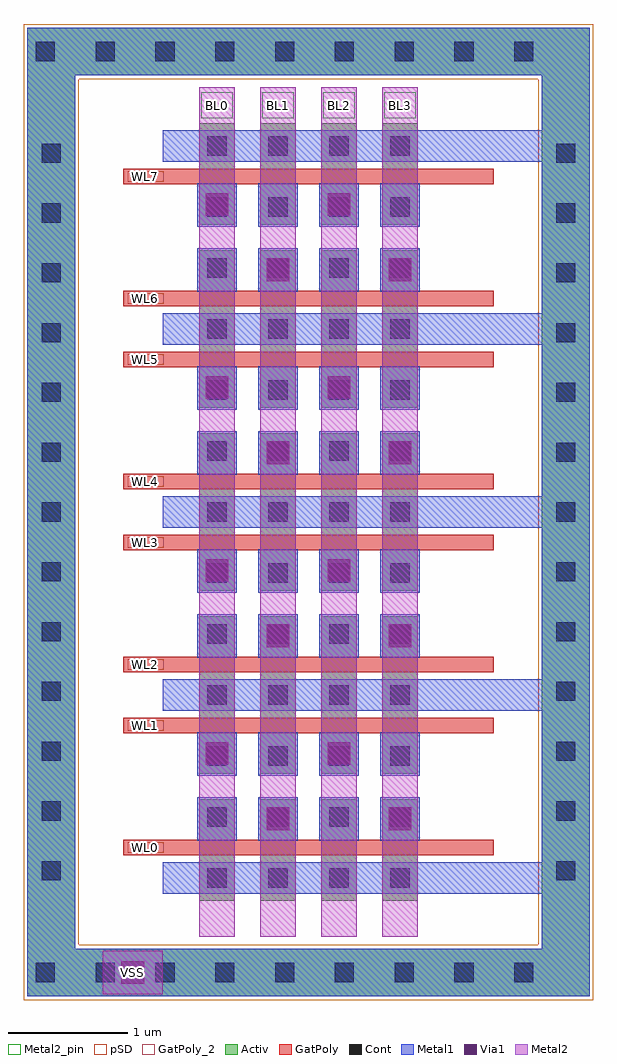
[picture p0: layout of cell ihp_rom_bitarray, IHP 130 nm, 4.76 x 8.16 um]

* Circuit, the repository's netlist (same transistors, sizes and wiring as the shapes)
* NGSPICE file created from ihp_rom_bitarray.ext - technology: ihp-sg13g2

.subckt ihp_rom_bitarray VSS WL0 WL1 WL2 WL3 WL4 WL5 WL6 WL7 BL0 BL1 BL2 BL3
X0 VSS WL5 BL2 VSS sg13_lv_nmos ad=57f pd=0.68u as=0.102p ps=1.28u w=0.3u l=0.13u
X1 a_225_64# WL0 VSS VSS sg13_lv_nmos ad=0.102p pd=1.28u as=0.114p ps=1.36u w=0.3u l=0.13u
X2 VSS WL7 BL2 VSS sg13_lv_nmos ad=0.114p pd=1.36u as=0.102p ps=1.28u w=0.3u l=0.13u
X3 VSS WL5 a_327_786# VSS sg13_lv_nmos ad=57f pd=0.68u as=0.102p ps=1.28u w=0.3u l=0.13u
X4 a_21_370# WL2 VSS VSS sg13_lv_nmos ad=0.102p pd=1.28u as=57f ps=0.68u w=0.3u l=0.13u
X5 BL1 WL4 VSS VSS sg13_lv_nmos ad=0.102p pd=1.28u as=57f ps=0.68u w=0.3u l=0.13u
X6 VSS WL7 BL0 VSS sg13_lv_nmos ad=0.114p pd=1.36u as=0.102p ps=1.28u w=0.3u l=0.13u
X7 VSS WL5 BL0 VSS sg13_lv_nmos ad=57f pd=0.68u as=0.102p ps=1.28u w=0.3u l=0.13u
X8 a_225_676# WL4 VSS VSS sg13_lv_nmos ad=0.102p pd=1.28u as=57f ps=0.68u w=0.3u l=0.13u
X9 VSS WL7 a_327_1092# VSS sg13_lv_nmos ad=0.114p pd=1.36u as=0.102p ps=1.28u w=0.3u l=0.13u
X10 BL1 WL6 VSS VSS sg13_lv_nmos ad=0.102p pd=1.28u as=57f ps=0.68u w=0.3u l=0.13u
X11 BL3 WL4 VSS VSS sg13_lv_nmos ad=0.102p pd=1.28u as=57f ps=0.68u w=0.3u l=0.13u
X12 a_225_982# WL6 VSS VSS sg13_lv_nmos ad=0.102p pd=1.28u as=57f ps=0.68u w=0.3u l=0.13u
X13 BL1 WL0 VSS VSS sg13_lv_nmos ad=0.102p pd=1.28u as=0.114p ps=1.36u w=0.3u l=0.13u
X14 VSS WL1 a_123_174# VSS sg13_lv_nmos ad=57f pd=0.68u as=0.102p ps=1.28u w=0.3u l=0.13u
X15 BL3 WL6 VSS VSS sg13_lv_nmos ad=0.102p pd=1.28u as=57f ps=0.68u w=0.3u l=0.13u
X16 VSS WL1 BL2 VSS sg13_lv_nmos ad=57f pd=0.68u as=0.102p ps=1.28u w=0.3u l=0.13u
X17 a_21_676# WL4 VSS VSS sg13_lv_nmos ad=0.102p pd=1.28u as=57f ps=0.68u w=0.3u l=0.13u
X18 VSS WL3 a_123_480# VSS sg13_lv_nmos ad=57f pd=0.68u as=0.102p ps=1.28u w=0.3u l=0.13u
X19 VSS WL1 a_327_174# VSS sg13_lv_nmos ad=57f pd=0.68u as=0.102p ps=1.28u w=0.3u l=0.13u
X20 VSS WL3 BL2 VSS sg13_lv_nmos ad=57f pd=0.68u as=0.102p ps=1.28u w=0.3u l=0.13u
X21 a_21_982# WL6 VSS VSS sg13_lv_nmos ad=0.102p pd=1.28u as=57f ps=0.68u w=0.3u l=0.13u
X22 VSS WL3 a_327_480# VSS sg13_lv_nmos ad=57f pd=0.68u as=0.102p ps=1.28u w=0.3u l=0.13u
X23 VSS WL1 BL0 VSS sg13_lv_nmos ad=57f pd=0.68u as=0.102p ps=1.28u w=0.3u l=0.13u
X24 BL3 WL0 VSS VSS sg13_lv_nmos ad=0.102p pd=1.28u as=0.114p ps=1.36u w=0.3u l=0.13u
X25 BL1 WL2 VSS VSS sg13_lv_nmos ad=0.102p pd=1.28u as=57f ps=0.68u w=0.3u l=0.13u
X26 VSS WL7 a_123_1092# VSS sg13_lv_nmos ad=0.114p pd=1.36u as=0.102p ps=1.28u w=0.3u l=0.13u
X27 VSS WL3 BL0 VSS sg13_lv_nmos ad=57f pd=0.68u as=0.102p ps=1.28u w=0.3u l=0.13u
X28 a_225_370# WL2 VSS VSS sg13_lv_nmos ad=0.102p pd=1.28u as=57f ps=0.68u w=0.3u l=0.13u
X29 BL3 WL2 VSS VSS sg13_lv_nmos ad=0.102p pd=1.28u as=57f ps=0.68u w=0.3u l=0.13u
X30 VSS WL5 a_123_786# VSS sg13_lv_nmos ad=57f pd=0.68u as=0.102p ps=1.28u w=0.3u l=0.13u
X31 a_21_64# WL0 VSS VSS sg13_lv_nmos ad=0.102p pd=1.28u as=0.114p ps=1.36u w=0.3u l=0.13u
.ends

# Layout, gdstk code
import gdstk
lib = gdstk.Library(unit=1e-6, precision=1e-09)
def R(c, l, rs):  # rectangles x0, y0, x1, y1
    for r in rs: c.add(gdstk.rectangle(r[:2], r[2:], *l))
def A(c, l, x, y, w, h, nx, ny, dx, dy):  # array of equal rectangles
    R(c, l, [(x+i*dx, y+j*dy, x+i*dx+w, y+j*dy+h) for i in range(nx) for j in range(ny)])
Activ = (1, 0)
GatPoly = (5, 0)
GatPoly_2 = (5, 2)
Cont = (6, 0)
Metal1 = (8, 0)
Metal2 = (10, 0)
Metal2_pin = (10, 2)
pSD = (14, 0)
Via1 = (19, 0)

ihp_rom_bitarray = lib.new_cell('ihp_rom_bitarray')
A(ihp_rom_bitarray, Activ, 0.105, -0.19, 0.3, 0.85, 4, 2, 0.51, 5.65)
A(ihp_rom_bitarray, Activ, 0.105, 0.87, 0.3, 1.32, 4, 3, 0.51, 1.53)
R(ihp_rom_bitarray, Activ, [(-1.33,-0.99,3.37,-0.59), (-1.33,-0.59,-0.93,6.71), (2.97,-0.59,3.37,6.71), (-1.33,6.71,3.37,7.11)])
R(ihp_rom_bitarray, GatPoly, [(-0.53,0.19,2.57,0.32), (-0.53,1.21,2.57,1.34), (-0.53,1.72,2.57,1.85), (-0.53,2.74,2.57,2.87), (-0.53,3.25,2.57,3.38), (-0.53,4.27,2.57,4.4), (-0.53,4.78,2.57,4.91), (-0.53,5.8,2.57,5.93)])
R(ihp_rom_bitarray, GatPoly_2, [(-0.49,0.21,-0.19,0.3), (-0.49,1.23,-0.19,1.32), (-0.49,1.74,-0.19,1.83), (-0.49,2.76,-0.19,2.85), (-0.49,3.27,-0.19,3.36), (-0.49,4.29,-0.19,4.38), (-0.49,4.8,-0.19,4.89), (-0.49,5.82,-0.19,5.91)])
A(ihp_rom_bitarray, Cont, -1.26, -0.87, 0.16, 0.16, 9, 2, 0.5, 7.7)
A(ihp_rom_bitarray, Cont, 0.175, -0.08, 0.16, 0.16, 4, 13, 0.51, 0.51)
A(ihp_rom_bitarray, Cont, -1.21, -0.02, 0.16, 0.16, 1, 13, 0, 0.5)
A(ihp_rom_bitarray, Cont, 3.09, -0.02, 0.16, 0.16, 1, 13, 0, 0.5)
A(ihp_rom_bitarray, Metal1, -0.2, -0.13, 3.57, 0.26, 1, 5, 0, 1.53)
A(ihp_rom_bitarray, Metal1, 2.97, 0.13, 0.4, 1.27, 1, 4, 0, 1.53)
A(ihp_rom_bitarray, Metal1, 0.09, 0.31, 0.33, 0.365, 4, 2, 0.51, 0.545)
A(ihp_rom_bitarray, Metal1, 0.09, 1.84, 0.33, 0.365, 4, 2, 0.51, 0.545)
A(ihp_rom_bitarray, Metal1, 0.09, 3.37, 0.33, 0.365, 4, 2, 0.51, 0.545)
A(ihp_rom_bitarray, Metal1, 0.09, 4.9, 0.33, 0.365, 4, 2, 0.51, 0.545)
R(ihp_rom_bitarray, Metal1, [(-1.33,-0.99,3.37,-0.59), (-1.33,-0.59,-0.93,6.71), (2.97,-0.59,3.37,-0.13), (2.97,6.25,3.37,6.71), (-1.33,6.71,3.37,7.11)])
A(ihp_rom_bitarray, Metal2, 0.105, -0.49, 0.3, 7.1, 4, 1, 0.51, 0)
R(ihp_rom_bitarray, Metal2, [(-0.7,-0.97,-0.2,-0.61)])
A(ihp_rom_bitarray, Metal2_pin, 0.125, 6.35, 0.26, 0.22, 4, 1, 0.51, 0)
R(ihp_rom_bitarray, Metal2_pin, [(-0.7,-0.97,-0.2,-0.61)])
R(ihp_rom_bitarray, pSD, [(-1.36,-1.02,3.4,-0.56), (-1.36,-0.56,-0.9,6.68), (2.94,-0.56,3.4,6.68), (-1.36,6.68,3.4,7.14)])
A(ihp_rom_bitarray, Via1, 0.67, 0.4, 0.19, 0.19, 1, 4, 0, 1.53)
A(ihp_rom_bitarray, Via1, 1.69, 0.4, 0.19, 0.19, 1, 4, 0, 1.53)
A(ihp_rom_bitarray, Via1, 0.16, 0.945, 0.19, 0.19, 1, 4, 0, 1.53)
A(ihp_rom_bitarray, Via1, 1.18, 0.945, 0.19, 0.19, 1, 4, 0, 1.53)
R(ihp_rom_bitarray, Via1, [(-0.545,-0.885,-0.355,-0.695)])
ihp_rom_bitarray.add(gdstk.Label('VSS', (-0.45,-0.79), layer=10, texttype=25))
ihp_rom_bitarray.add(gdstk.Label('WL0', (-0.34,0.255), layer=5, texttype=2))
ihp_rom_bitarray.add(gdstk.Label('WL1', (-0.34,1.275), layer=5, texttype=2))
ihp_rom_bitarray.add(gdstk.Label('WL2', (-0.34,1.785), layer=5, texttype=2))
ihp_rom_bitarray.add(gdstk.Label('WL3', (-0.34,2.805), layer=5, texttype=2))
ihp_rom_bitarray.add(gdstk.Label('WL4', (-0.34,3.315), layer=5, texttype=2))
ihp_rom_bitarray.add(gdstk.Label('WL5', (-0.34,4.335), layer=5, texttype=2))
ihp_rom_bitarray.add(gdstk.Label('WL6', (-0.34,4.845), layer=5, texttype=2))
ihp_rom_bitarray.add(gdstk.Label('WL7', (-0.34,5.865), layer=5, texttype=2))
ihp_rom_bitarray.add(gdstk.Label('BL0', (0.255,6.46), layer=10, texttype=25))
ihp_rom_bitarray.add(gdstk.Label('BL1', (0.765,6.46), layer=10, texttype=25))
ihp_rom_bitarray.add(gdstk.Label('BL2', (1.275,6.46), layer=10, texttype=25))
ihp_rom_bitarray.add(gdstk.Label('BL3', (1.785,6.46), layer=10, texttype=25))

lib.write_gds('ihp_rom_bitarray.gds')
